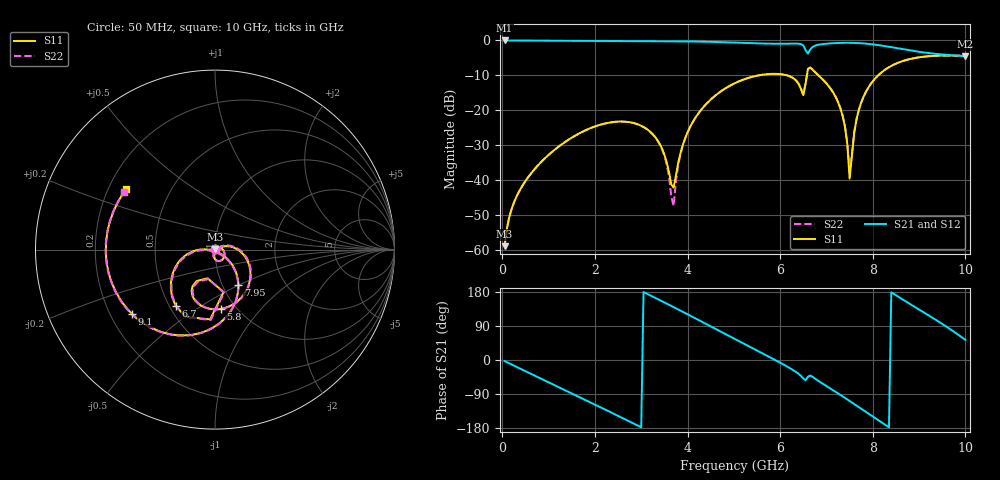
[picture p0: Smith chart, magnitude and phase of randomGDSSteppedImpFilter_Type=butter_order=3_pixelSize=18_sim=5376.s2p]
! freq	dB(S11)	phase(S11)	dB(S12)	phase(S12)
!  dB(S21)	phase(S21)	dB(S22)	phase(S22)
!S-par simulation data
#  GHz  S  DB  R 50
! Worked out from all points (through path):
!   200 points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, 50 MHz to 10 GHz, reference 50 ohm
!   highest |S21| = -0.01 dB at 50 MHz (marker M1); lowest = -4.5 dB at 10 GHz (marker M2)
!   group delay of S21, straight-line fit = 183 ps
!   lowest |S11| = -58.8 dB at 50 MHz (marker M3), VSWR 1.00, Z = 50.1 + j0.102 ohm
!   |S11| at or under -10 dB: start of sweep to 5.534 GHz; 6.147 GHz to 6.578 GHz (431.7 MHz wide, 6.79 % of centre); 6.828 GHz to 8.117 GHz (1.289 GHz wide, 17.3 % of centre)
!   |S22| runs from -58.8 to -4.3 dB; largest |S21 - S12| = 0
!   S11 on the Smith chart (normalised r, x): 50 MHz: 1.00, +0.00; 5.8 GHz: 0.85, -0.63; 6.7 GHz: 0.54, -0.40; 7.95 GHz: 1.19, -0.49; 9.1 GHz: 0.29, -0.31; 10 GHz: 0.27, +0.29
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0.05  -58.84 62.9  -0.01 -3.0  -0.01 -3.0  -58.84 62.9
0.2  -48.25 69.5  -0.02 -11.8  -0.02 -11.8  -48.25 69.3
0.5  -40.20 59.0  -0.04 -29.4  -0.04 -29.4  -40.20 58.5
1.75  -26.00 -10.4  -0.13 -102.9  -0.13 -102.9  -26.01 -11.5
2.65  -23.23 -63.0  -0.20 -156.4  -0.20 -156.4  -23.25 -64.8
3.4  -29.62 -100.5  -0.25 158.1  -0.25 158.1  -29.77 -106.3
3.7  -42.11 -26.0  -0.27 139.5  -0.27 139.5  -47.33 -12.0
3.8  -34.96 17.2  -0.27 133.3  -0.27 133.3  -35.60 30.0
4.05  -24.88 19.1  -0.30 117.5  -0.30 117.5  -24.94 23.6
5.05  -12.05 -38.1  -0.64 53.6  -0.64 53.6  -12.05 -36.8
5.8  -9.58 -84.7  -0.94 5.9  -0.94 5.9  -9.58 -83.6
6.5  -15.65 -104.5  -1.45 -48.6  -1.45 -48.6  -15.47 -102.9
6.6  -8.18 -93.9  -3.75 -44.2  -3.75 -44.2  -8.12 -93.5
6.7  -8.35 -125.0  -1.87 -44.5  -1.87 -44.5  -8.34 -124.2
7.3  -19.35 -177.6  -0.71 -92.1  -0.71 -92.1  -19.32 -175.0
7.45  -29.64 -179.7  -0.68 -104.1  -0.68 -104.1  -29.35 -172.7
7.5  -39.53 -136.4  -0.68 -108.2  -0.68 -108.2  -37.12 -129.0
7.65  -22.48 -35.9  -0.73 -120.4  -0.73 -120.4  -22.41 -38.3
7.95  -12.58 -56.3  -1.04 -145.2  -1.04 -145.2  -12.56 -56.6
8.35  -7.66 -87.2  -1.81 -177.5  -1.81 -177.5  -7.65 -87.0
9.1  -4.66 -142.4  -3.44 125.7  -3.44 125.7  -4.64 -141.5
10  -4.46 145.7  -4.52 52.9  -4.52 52.9  -4.42 147.7
